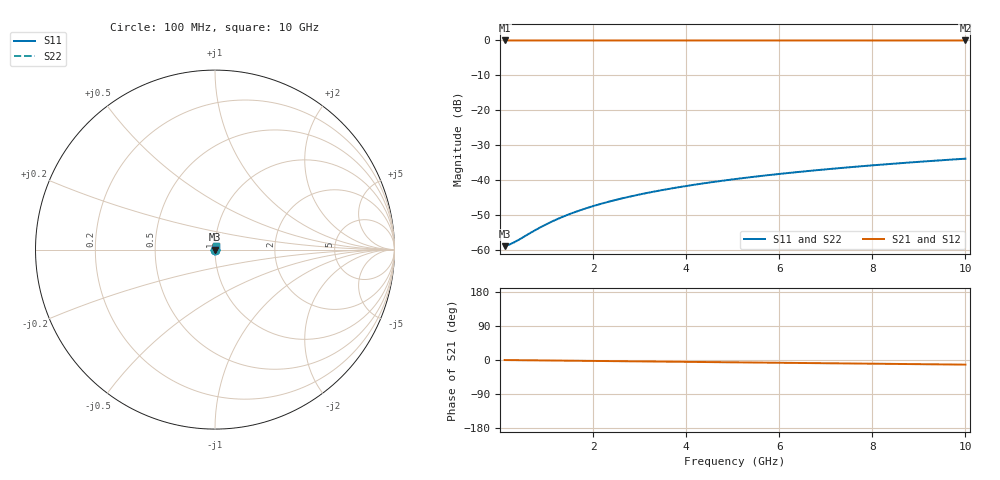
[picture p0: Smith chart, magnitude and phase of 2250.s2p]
# Hz S RI R 50.00
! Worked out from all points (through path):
!   100 points, 100 MHz to 10 GHz, reference 50 ohm
!   highest |S21| = -0.01 dB at 100 MHz (marker M1); lowest = 0.0 dB at 10 GHz (marker M2)
!   group delay of S21, straight-line fit = 3.39 ps
!   lowest |S11| = -58.9 dB at 100 MHz (marker M3), VSWR 1.00, Z = 50.1 + j0.0203 ohm
!   |S11| at or under -10 dB: start of sweep to end of sweep
!   |S22| runs from -58.9 to -33.8 dB; largest |S21 - S12| = 0
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1e8  0.00112 0.000203  0.9989 -0.00212  0.9989 -0.00212  0.00112 0.000203
2e8  0.00113 0.000406  0.9989 -0.00424  0.9989 -0.00424  0.00113 0.000406
3e8  0.00114 0.000608  0.9988 -0.00636  0.9988 -0.00636  0.00114 0.000608
4e8  0.00114 0.000811  0.9988 -0.00848  0.9988 -0.00848  0.00114 0.000811
8e8  0.00117 0.00162  0.9987 -0.017  0.9987 -0.017  0.00117 0.00162
1.1e9  0.0012 0.00223  0.9986 -0.0233  0.9986 -0.0233  0.0012 0.00223
1.4e9  0.00124 0.00284  0.9984 -0.0297  0.9984 -0.0297  0.00124 0.00284
1.6e9  0.00127 0.00324  0.9982 -0.0339  0.9982 -0.0339  0.00127 0.00324
1.8e9  0.0013 0.00364  0.9981 -0.0382  0.9981 -0.0382  0.0013 0.00364
2.1e9  0.00135 0.00425  0.9978 -0.0445  0.9978 -0.0445  0.00135 0.00425
2.5e9  0.00143 0.00505  0.9974 -0.053  0.9974 -0.053  0.00143 0.00505
2.9e9  0.00153 0.00585  0.9969 -0.0615  0.9969 -0.0615  0.00153 0.00585
3.4e9  0.00167 0.00685  0.9961 -0.0721  0.9961 -0.0721  0.00167 0.00685
3.8e9  0.00179 0.00765  0.9955 -0.0805  0.9955 -0.0805  0.00179 0.00765
4.2e9  0.00193 0.00845  0.9947 -0.089  0.9947 -0.089  0.00193 0.00845
4.6e9  0.00208 0.00924  0.9939 -0.0975  0.9939 -0.0975  0.00208 0.00924
5.1e9  0.00229 0.0102  0.9928 -0.108  0.9928 -0.108  0.00229 0.0102
5.9e9  0.00267 0.0118  0.9908 -0.1249  0.9908 -0.1249  0.00267 0.0118
6.7e9  0.0031 0.0133  0.9885 -0.1418  0.9885 -0.1418  0.0031 0.0133
7.5e9  0.00359 0.0149  0.9859 -0.1587  0.9859 -0.1587  0.00359 0.0149
8.4e9  0.0042 0.0166  0.9826 -0.1776  0.9826 -0.1776  0.0042 0.0166
1e10  0.00545 0.0196  0.9758 -0.2112  0.9758 -0.2112  0.00545 0.0196
